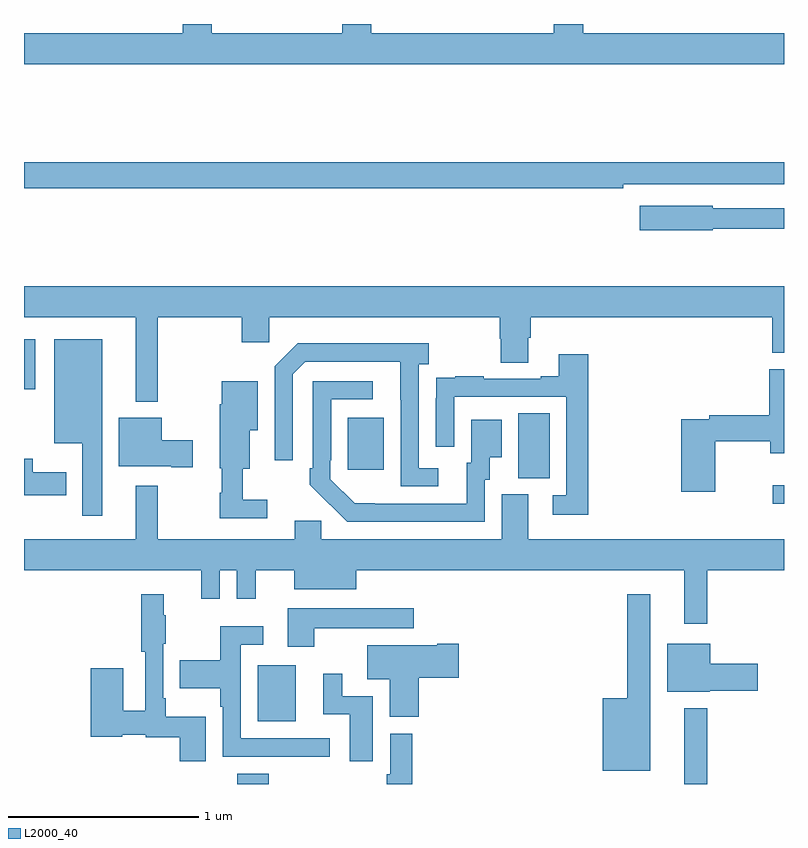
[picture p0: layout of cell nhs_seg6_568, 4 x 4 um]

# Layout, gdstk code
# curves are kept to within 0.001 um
import gdstk
lib = gdstk.Library(unit=1e-6, precision=1e-09)
def R(c, l, rs):  # rectangles x0, y0, x1, y1
    for r in rs: c.add(gdstk.rectangle(r[:2], r[2:], *l))
def P(c, l, *ps):  # polygons
    for p in ps: c.add(gdstk.Polygon(p, *l))
L2000_40 = (2000, 40)

nhs_seg6_568 = lib.new_cell('nhs_seg6_568')
R(nhs_seg6_568, L2000_40, [(146.123,991.5,146.288,991.555), (148.475,991.5,148.597,991.9), (146.231,991.829,146.431,992.125), (148.941,992.976,149,993.072), (147.602,993.109,147.766,993.452), (146.705,993.153,146.893,993.427), (145,993.578,145.06,993.841)])
P(nhs_seg6_568, L2000_40, [(149,995.452),(147.944,995.452),(147.944,995.5),(147.787,995.5),(147.787,995.452),(146.827,995.452),(146.827,995.5),(146.675,995.5),(146.675,995.452),(145.988,995.452),(145.988,995.5),(145.835,995.5),(145.835,995.452),(145,995.452),(145,995.288),(149,995.288)],
  [(148.154,994.656),(149,994.656),(149,994.772),(145,994.772),(145,994.636),(148.154,994.636)],
  [(148.626,994.422),(149,994.422),(149,994.53),(148.626,994.53),(148.626,994.543),(148.242,994.543),(148.242,994.414),(148.626,994.414)],
  [(145.703,993.956),(146.146,993.956),(146.146,993.825),(146.292,993.825),(146.292,993.956),(147.503,993.956),(147.503,993.843),(147.508,993.843),(147.508,993.718),(147.655,993.718),(147.655,993.85),(147.668,993.85),(147.668,993.956),(148.937,993.956),(148.937,993.769),(149,993.769),(149,994.12),(145,994.12),(145,993.956),(145.589,993.956),(145.589,993.512),(145.703,993.512)],
  [(145.411,993.841),(145.16,993.841),(145.16,993.293),(145.307,993.293),(145.307,992.913),(145.411,992.913)],
  [(147.181,993.162),(147.078,993.162),(147.078,993.71),(147.13,993.71),(147.13,993.82),(146.44,993.82),(146.319,993.699),(146.319,993.204),(146.415,993.204),(146.415,993.657),(146.481,993.723),(146.981,993.723),(146.982,993.066),(147.181,993.066)],
  [(147.971,993.763),(147.815,993.763),(147.815,993.646),(147.719,993.646),(147.719,993.633),(147.419,993.633),(147.419,993.646),(147.271,993.646),(147.271,993.639),(147.169,993.639),(147.169,993.53),(147.168,993.53),(147.168,993.276),(147.264,993.276),(147.264,993.537),(147.855,993.537),(147.855,993.021),(147.783,993.021),(147.783,992.916),(147.971,992.916)],
  [(148.638,993.304),(148.927,993.304),(148.927,993.24),(149,993.24),(149,993.684),(148.922,993.684),(148.922,993.44),(148.606,993.44),(148.606,993.42),(148.46,993.42),(148.46,993.039),(148.638,993.039)],
  [(147.426,993.102),(147.451,993.102),(147.451,993.221),(147.514,993.221),(147.514,993.418),(147.353,993.418),(147.353,993.192),(147.329,993.192),(147.329,992.976),(146.742,992.977),(146.613,993.105),(146.613,993.205),(146.616,993.205),(146.616,993.525),(146.836,993.525),(146.836,993.621),(146.52,993.621),(146.52,993.163),(146.505,993.163),(146.505,993.075),(146.702,992.88),(147.426,992.88)],
  [(146.281,992.995),(146.152,992.995),(146.152,993.158),(146.188,993.158),(146.188,993.362),(146.23,993.362),(146.23,993.619),(146.042,993.619),(146.042,993.498),(146.03,993.498),(146.03,993.162),(146.042,993.162),(146.042,993.032),(146.031,993.032),(146.031,992.898),(146.281,992.898)],
  [(145.888,993.308),(145.726,993.308),(145.726,993.427),(145.499,993.427),(145.499,993.173),(145.775,993.173),(145.775,993.166),(145.888,993.166)],
  [(145.222,993.142),(145.045,993.142),(145.045,993.211),(145,993.211),(145,993.02),(145.222,993.02)],
  [(148.597,992.624),(149,992.624),(149,992.788),(147.655,992.788),(147.655,993.024),(147.515,993.024),(147.515,992.788),(146.565,992.788),(146.565,992.886),(146.426,992.886),(146.426,992.788),(145.703,992.788),(145.703,993.07),(145.589,993.07),(145.589,992.788),(145,992.788),(145,992.624),(145.934,992.624),(145.934,992.475),(146.031,992.475),(146.031,992.624),(146.121,992.624),(146.121,992.475),(146.219,992.475),(146.219,992.624),(146.423,992.624),(146.423,992.525),(146.749,992.525),(146.749,992.624),(148.475,992.624),(148.475,992.343),(148.597,992.343)],
  [(145.957,991.855),(145.747,991.855),(145.747,991.951),(145.734,991.951),(145.734,992.239),(145.747,992.239),(145.747,992.387),(145.736,992.387),(145.736,992.5),(145.618,992.5),(145.618,992.197),(145.638,992.197),(145.638,991.886),(145.522,991.886),(145.522,992.11),(145.352,992.11),(145.352,991.75),(145.518,991.75),(145.518,991.758),(145.641,991.758),(145.641,991.746),(145.819,991.746),(145.819,991.62),(145.957,991.62)],
  [(148.297,992.5),(148.176,992.5),(148.176,991.951),(148.046,991.951),(148.046,991.571),(148.297,991.571)],
  [(146.527,992.321),(147.052,992.321),(147.052,992.425),(146.387,992.425),(146.387,992.223),(146.527,992.223)],
  [(146.608,991.74),(146.142,991.74),(146.142,992.232),(146.26,992.232),(146.26,992.329),(146.034,992.329),(146.034,992.151),(145.819,992.151),(145.819,992.003),(146.034,992.003),(146.034,991.907),(146.046,991.907),(146.046,991.644),(146.371,991.644),(146.371,991.643),(146.608,991.643)],
  [(148.608,991.991),(148.861,991.991),(148.861,992.133),(148.612,992.133),(148.612,992.239),(148.385,992.239),(148.385,991.985),(148.608,991.985)],
  [(147.077,992.06),(147.289,992.06),(147.289,992.238),(147.176,992.238),(147.176,992.23),(146.807,992.23),(146.807,992.051),(146.924,992.051),(146.924,991.854),(147.077,991.854)],
  [(146.836,991.962),(146.674,991.962),(146.674,992.08),(146.576,992.08),(146.576,991.866),(146.714,991.866),(146.714,991.62),(146.836,991.62)],
  [(147.044,991.765),(146.928,991.765),(146.928,991.552),(146.908,991.552),(146.908,991.5),(147.044,991.5)])

lib.write_gds('nhs_seg6_568.gds')
